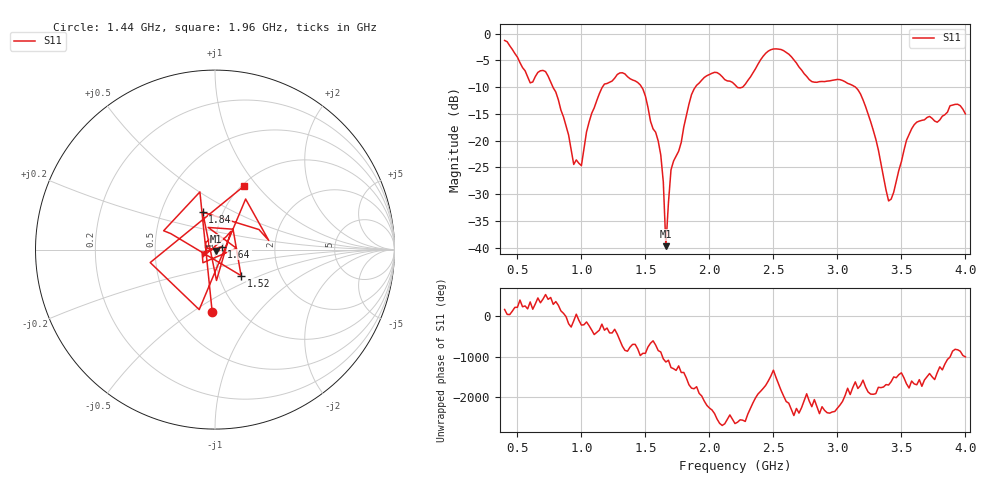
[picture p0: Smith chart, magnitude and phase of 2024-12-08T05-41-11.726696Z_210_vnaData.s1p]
!Created with skrf (http://scikit-rf.org).
# Hz S RI R 50.0
!freq ReS11 ImS11
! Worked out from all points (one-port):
!   181 points, 400 MHz to 4 GHz, reference 50 ohm
!   lowest |S11| = -39.7 dB at 1.66 GHz (marker M1), VSWR 1.02, Z = 50.6 - j0.846 ohm
!   |S11| at or under -10 dB: 778 MHz to 1.164 GHz (385.6 MHz wide, 39.7 % of centre); 1.471 GHz to 1.89 GHz (418.4 MHz wide, 24.9 % of centre); 3.142 GHz to end of sweep (the widest 3 of 4)
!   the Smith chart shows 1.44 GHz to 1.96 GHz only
!   S11 on the Smith chart (normalised r, x): 1.44 GHz: 0.76, -0.61; 1.52 GHz: 1.27, -0.39; 1.64 GHz: 1.08, +0.04; 1.84 GHz: 0.80, +0.35; 1.96 GHz: 1.02, +0.86
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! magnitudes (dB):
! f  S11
! 400 MHz  -1.3
! 600 MHz  -9.2
! 720 MHz  -7.1
! 860 MHz  -15.5
! 940 MHz  -24.4
! 1 GHz  -24.6
! 1.04 GHz  -18.4
! 1.14 GHz  -11.2
! 1.3 GHz  -7.3
! 1.44 GHz  -9.1
! 1.52 GHz  -13.8
! 1.6 GHz  -20.0
! 1.64 GHz  -27.7
! 1.66 GHz  -39.7
! 1.7 GHz  -25.4
! 1.76 GHz  -21.9
! 1.84 GHz  -13.2
! 1.96 GHz  -8.2
! 2.2 GHz  -9.5
! 2.48 GHz  -3.0
! 2.66 GHz  -4.9
! 2.8 GHz  -8.9
! 3.1 GHz  -9.5
! 3.26 GHz  -16.5
! 3.4 GHz  -31.2
! 3.56 GHz  -18.8
! 3.88 GHz  -13.5
! 4 GHz  -15.0
